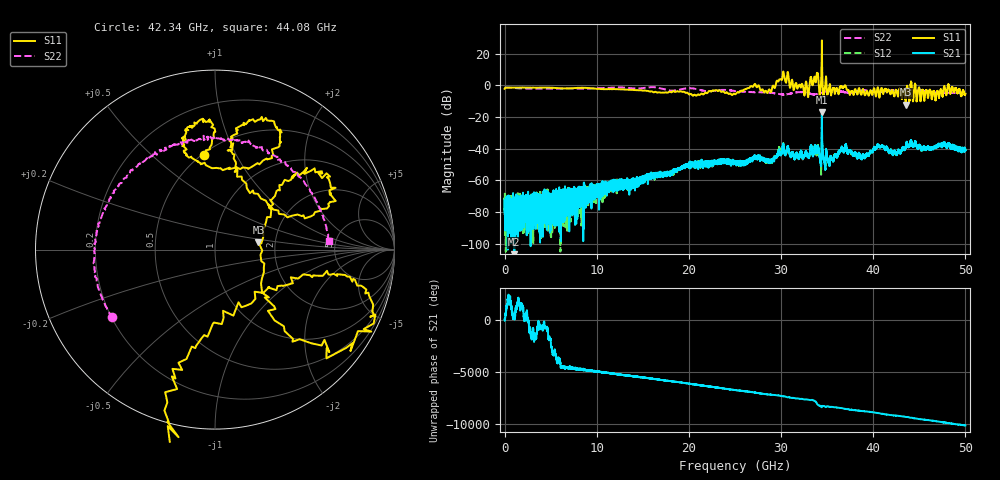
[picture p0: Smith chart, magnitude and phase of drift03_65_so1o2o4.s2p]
!Created with skrf (http://scikit-rf.org).
# Hz S RI R 50.0
!freq ReS11 ImS11 ReS21 ImS21 ReS12 ImS12 ReS22 ImS22
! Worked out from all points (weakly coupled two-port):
!   10000 points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, 5.3 MHz to 50 GHz, reference 50 ohm
!   highest |S21| = -16.95 dB at 34.43 GHz (marker M1); lowest = -107.0 dB at 1.06 GHz (marker M2)
!   lowest |S11| = -12.2 dB at 43.52 GHz (marker M3), VSWR 1.65, Z = 81.6 + j7.21 ohm
!   |S11| at or under -10 dB: 43.48724 GHz to 43.55396 GHz (66.72 MHz wide, 0.153 % of centre); 44.31471 GHz to 44.31529 GHz (574.2 kHz wide, 0.0013 % of centre); 44.7086 GHz to 44.71171 GHz (3.109 MHz wide, 0.00695 % of centre)
!   |S22| runs from -5.8 to -1.1 dB; largest |S21 - S12| = 0.041
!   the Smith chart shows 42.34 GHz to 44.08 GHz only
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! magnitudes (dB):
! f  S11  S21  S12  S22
! 5.3 MHz  -2.1  -72.0  -71.0  -1.3
! 1.06 GHz  -1.4  -107.0  -80.2  -1.6
! 8.34 GHz  -1.5  -72.9  -65.3  -2.1
! 16.67 GHz  -4.4  -56.3  -55.4  -1.5
! 20.32 GHz  -5.7  -49.3  -48.7  -1.8
! 25.01 GHz  -5.5  -49.1  -49.4  -3.5
! 27.02 GHz  -0.3  -45.9  -45.1  -4.3
! 28.72 GHz  -2.5  -47.9  -48.2  -4.5
! 30.14 GHz  4.4  -40.5  -40.4  -5.7
! 32.74 GHz  2.1  -42.2  -42.6  -4.6
! 33.34 GHz  2.7  -40.0  -40.4  -5.6
! 33.82 GHz  4.0  -41.8  -41.9  -5.7
! 34.43 GHz  28.4  -17.0  -18.6  -4.6
! 35.3 GHz  0.5  -47.7  -46.5  -3.3
! 36.85 GHz  -0.7  -40.3  -41.3  -4.3
! 38.84 GHz  -2.9  -44.4  -44.2  -3.2
! 40.58 GHz  -3.2  -37.8  -37.7  -4.0
! 41.67 GHz  -2.9  -42.1  -42.1  -3.3
! 43.52 GHz  -12.2  -39.2  -39.5  -4.2
! 46.94 GHz  -3.7  -38.5  -38.6  -4.9
! 48.32 GHz  -4.5  -38.5  -37.9  -4.6
! 50 GHz  -5.2  -40.4  -39.9  -4.5
